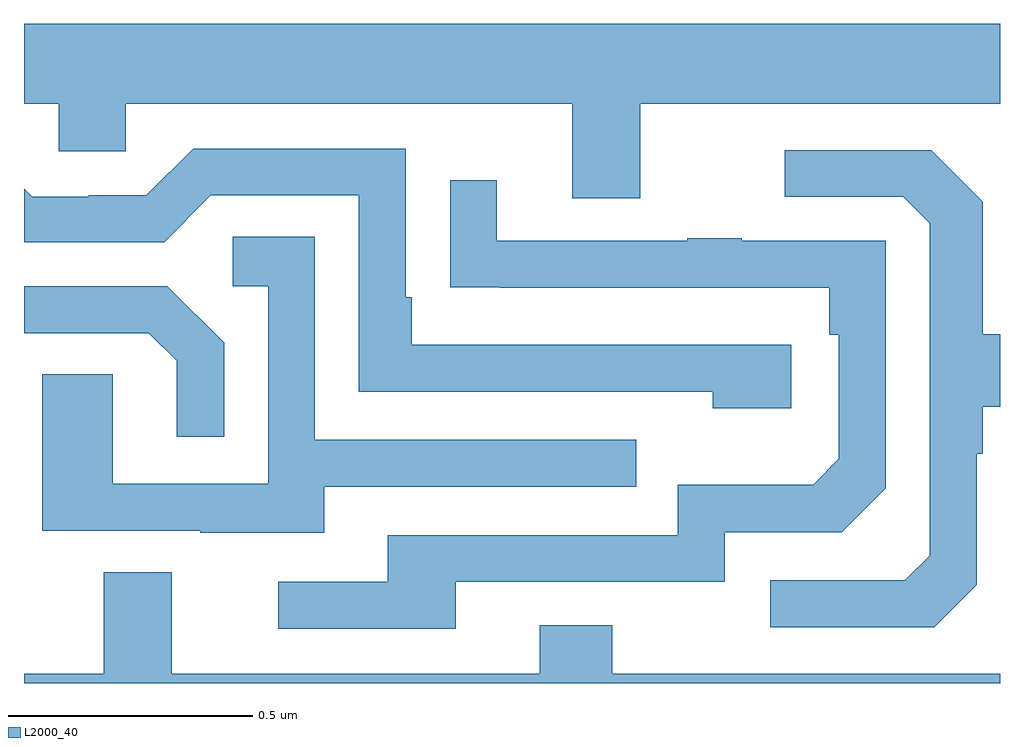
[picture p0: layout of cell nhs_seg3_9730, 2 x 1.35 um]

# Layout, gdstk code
import gdstk
lib = gdstk.Library(unit=1e-6, precision=1e-09)
def P(c, l, *ps):  # polygons
    for p in ps: c.add(gdstk.Polygon(p, *l))
L2000_40 = (2000, 40)

nhs_seg3_9730 = lib.new_cell('nhs_seg3_9730')
P(nhs_seg3_9730, L2000_40, [(233.263,695.588),(234,695.588),(234,695.752),(232,695.752),(232,695.588),(232.071,695.588),(232.071,695.49),(232.209,695.49),(232.209,695.588),(233.123,695.588),(233.123,695.394),(233.263,695.394)],
  [(233.572,695.094),(232.795,695.094),(232.795,695.191),(232.782,695.191),(232.782,695.496),(232.347,695.496),(232.251,695.4),(232.133,695.4),(232.133,695.397),(232.017,695.397),(232,695.414),(232,695.304),(232.287,695.304),(232.383,695.4),(232.686,695.4),(232.686,694.998),(233.411,694.998),(233.411,694.964),(233.572,694.964)],
  [(233.952,694.602),(233.952,694.871),(233.965,694.871),(233.965,694.967),(234,694.967),(234,695.115),(233.965,695.115),(233.965,695.387),(233.859,695.493),(233.559,695.493),(233.559,695.397),(233.802,695.397),(233.856,695.343),(233.856,694.662),(233.805,694.611),(233.529,694.611),(233.529,694.515),(233.865,694.515)],
  [(232.885,694.608),(233.436,694.608),(233.436,694.71),(233.676,694.71),(233.766,694.8),(233.766,695.307),(233.471,695.307),(233.471,695.312),(233.359,695.312),(233.359,695.307),(232.969,695.307),(232.969,695.431),(232.873,695.431),(232.873,695.212),(232.975,695.212),(232.975,695.211),(233.65,695.211),(233.65,695.114),(233.67,695.114),(233.67,694.86),(233.617,694.807),(233.34,694.807),(233.34,694.704),(232.745,694.704),(232.745,694.608),(232.521,694.608),(232.521,694.512),(232.885,694.512)],
  [(232.615,694.803),(233.255,694.803),(233.255,694.899),(232.596,694.899),(232.596,695.315),(232.428,695.315),(232.428,695.214),(232.5,695.214),(232.5,694.809),(232.182,694.809),(232.182,695.033),(232.037,695.033),(232.037,694.713),(232.361,694.713),(232.361,694.709),(232.615,694.709)],
  [(232.41,695.098),(232.294,695.214),(232,695.214),(232,695.118),(232.256,695.118),(232.313,695.061),(232.313,694.905),(232.41,694.905)],
  [(234,694.42),(233.205,694.42),(233.205,694.519),(233.057,694.519),(233.057,694.42),(232.303,694.42),(232.303,694.628),(232.163,694.628),(232.163,694.42),(232,694.42),(232,694.4),(234,694.4)])

lib.write_gds('nhs_seg3_9730.gds')
